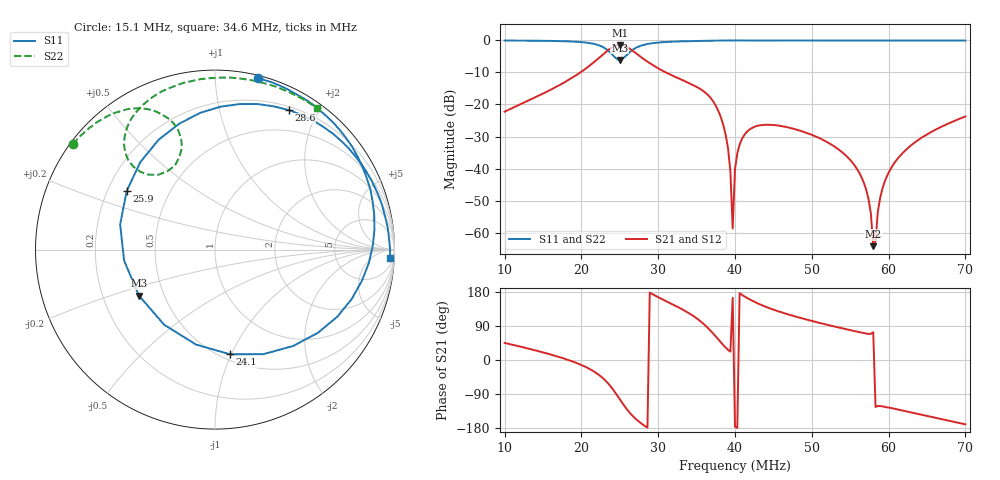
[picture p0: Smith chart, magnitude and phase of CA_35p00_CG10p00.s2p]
#  HZ  S  RI  R  50.00
! Rohde & Schwarz ZVT8 8Ports - Version 4.11 - 1300.0000k08 SN: 100242
! Date: 2026-07-31 14:46:54
! Measurements: S11 S21 S12 S22
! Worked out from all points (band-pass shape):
!   201 points, 10 MHz to 70 MHz, reference 50 ohm
!   highest |S21| = -1.38 dB at 25 MHz (marker M1); lowest = -64.2 dB at 58 MHz (marker M2)
!   |S21| within 3 dB of the highest: 22.82 MHz to 27.31 MHz (4.498 MHz wide, 17.9 % of centre)
!   lowest |S11| = -6.1 dB at 25 MHz (marker M3), VSWR 2.96, Z = 18 - j12.3 ohm
!   |S11| at or under -10 dB: nowhere
!   |S22| runs from -5.8 to 0.0 dB; largest |S21 - S12| = 0.0025
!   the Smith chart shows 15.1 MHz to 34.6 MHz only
!   S11 on the Smith chart (normalised r, x): 15.1 MHz: 0.02, +1.28; 24.1 MHz: 0.55, -0.99; 25.9 MHz: 0.28, +0.28; 28.6 MHz: 0.24, +1.63; 34.6 MHz: 18, -34
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1e7  -0.3965 0.9138  0.0546 0.0547  0.0543 0.0547  -0.9177 0.3875
1.51e7  0.2405 0.9551  0.1414 0.0499  0.1413 0.05  -0.7911 0.5864
2.02e7  0.8431 0.4053  0.3262 -0.0873  0.3254 -0.0868  -0.5378 0.7677
2.26e7  0.7622 -0.2744  0.4088 -0.4014  0.4106 -0.4025  -0.3003 0.7557
2.41e7  0.0849 -0.5835  0.1734 -0.7734  0.174 -0.7728  -0.1838 0.5714
2.5e7  -0.4231 -0.2573  -0.2017 -0.8284  -0.2019 -0.8287  -0.2648 0.4364
2.59e7  -0.4919 0.3268  -0.5042 -0.6118  -0.5039 -0.6132  -0.4167 0.4339
2.86e7  0.4105 0.7779  -0.4656 -0.0122  -0.4662 -0.011  -0.4429 0.7621
3.01e7  0.706 0.6028  -0.3475 0.0961  -0.3473 0.0951  -0.2944 0.8822
3.46e7  0.9755 -0.045  -0.0871 0.1797  -0.0873 0.1799  0.5705 0.7885
3.67e7  0.9366 -0.3181  0.0233 0.1298  0.0233 0.1293  0.9804 -0.0356
3.85e7  0.8438 -0.5303  0.0364 0.0292  0.0363 0.0291  0.2994 -0.9409
3.94e7  0.7791 -0.6216  0.00828 0.00335  0.0082 0.00342  -0.2548 -0.957
3.97e7  0.7573 -0.6509  -0.00111 0.000318  -0.0011 0.000273  -0.4112 -0.9018
4e7  0.7315 -0.6782  -0.00985 -0.000688  -0.00985 -0.00075  -0.5431 -0.8295
4.27e7  0.4796 -0.8732  -0.0402 0.0216  -0.04 0.0215  -0.9915 -0.087
5.02e7  -0.3405 -0.9382  -0.00696 0.0321  -0.00688 0.0322  -0.6913 0.717
5.62e7  -0.8478 -0.5251  0.00245 0.00817  0.00241 0.00813  -0.3998 0.9134
5.74e7  -0.9109 -0.4083  0.00118 0.00305  0.00117 0.00305  -0.3427 0.9356
5.8e7  -0.9347 -0.3469  0.000178 0.000588  0.000136 0.00059  -0.3152 0.9463
6.01e7  -0.9886 -0.1217  -0.0053 -0.00737  -0.0053 -0.00733  -0.22 0.9721
7e7  -0.5402 0.8346  -0.0639 -0.0115  -0.0637 -0.0114  0.2136 0.9718
